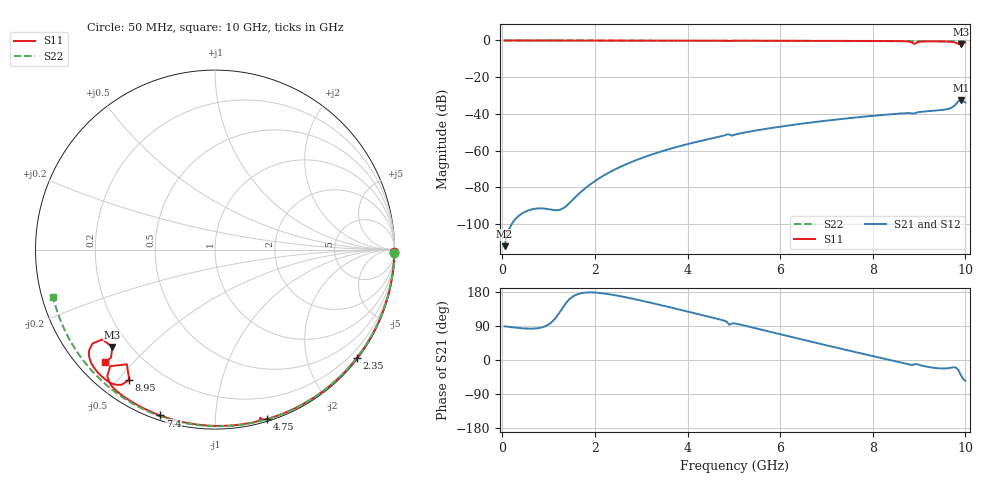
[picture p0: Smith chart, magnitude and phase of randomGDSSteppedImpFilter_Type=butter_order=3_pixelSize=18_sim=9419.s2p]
! freq	dB(S11)	phase(S11)	dB(S12)	phase(S12)
!  dB(S21)	phase(S21)	dB(S22)	phase(S22)
!S-par simulation data
#  GHz  S  DB  R 50
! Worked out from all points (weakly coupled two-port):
!   200 points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, 50 MHz to 10 GHz, reference 50 ohm
!   highest |S21| = -32.47 dB at 9.9 GHz (marker M1); lowest = -111.9 dB at 50 MHz (marker M2)
!   lowest |S11| = -2.1 dB at 9.9 GHz (marker M3), VSWR 8.42, Z = 6.87 - j19.6 ohm
!   |S11| at or under -10 dB: nowhere
!   |S22| runs from -0.5 to 0.0 dB; largest |S21 - S12| = 0
!   S11 on the Smith chart (normalised r, x): 50 MHz: open; 2.35 GHz: 0.03, -2.97; 4.75 GHz: 0.02, -1.35; 7.4 GHz: 0.02, -0.72; 8.95 GHz: 0.09, -0.54; 10 GHz: 0.08, -0.42
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0.05  -0.00 -0.8  -111.94 88.8  -111.94 88.8  -0.00 -1.0
0.85  -0.02 -13.7  -91.38 85.9  -91.38 85.9  -0.02 -16.0
1.75  -0.04 -27.9  -81.30 177.2  -81.30 177.2  -0.04 -32.6
1.8  -0.04 -28.7  -80.25 177.9  -80.25 177.9  -0.04 -33.6
2.35  -0.05 -37.3  -71.26 172.7  -71.26 172.7  -0.06 -43.5
2.85  -0.06 -44.9  -65.52 160.8  -65.52 160.8  -0.07 -52.3
3.4  -0.07 -53.2  -60.65 145.5  -60.65 145.5  -0.08 -61.8
4.75  -0.11 -72.9  -51.97 105.3  -51.97 105.3  -0.12 -84.2
5.05  -0.13 -76.6  -51.06 95.8  -51.06 95.8  -0.14 -89.0
6.7  -0.19 -99.1  -44.54 47.4  -44.54 47.4  -0.22 -114.4
7.4  -0.23 -108.3  -42.52 27.2  -42.52 27.2  -0.27 -124.9
8.35  -0.31 -121.1  -40.24 0.6  -40.24 0.6  -0.35 -138.9
8.8  -0.67 -130.4  -39.56 -12.2  -39.56 -12.2  -0.40 -145.5
8.85  -1.17 -132.0  -39.72 -13.1  -39.72 -13.1  -0.40 -146.3
8.9  -1.88 -127.6  -39.76 -11.1  -39.76 -11.1  -0.41 -147.0
8.95  -1.22 -123.4  -39.26 -11.0  -39.26 -11.0  -0.41 -147.8
9.15  -0.49 -128.6  -38.59 -17.3  -38.59 -17.3  -0.44 -150.7
9.7  -0.74 -139.9  -36.60 -20.1  -36.60 -20.1  -0.50 -159.0
9.8  -1.31 -142.5  -34.53 -20.1  -34.53 -20.1  -0.52 -160.5
9.85  -1.91 -141.4  -33.09 -26.8  -33.09 -26.8  -0.52 -161.3
9.9  -2.07 -136.5  -32.47 -39.3  -32.47 -39.3  -0.52 -162.1
10  -1.13 -134.4  -33.81 -55.1  -33.81 -55.1  -0.54 -163.6
